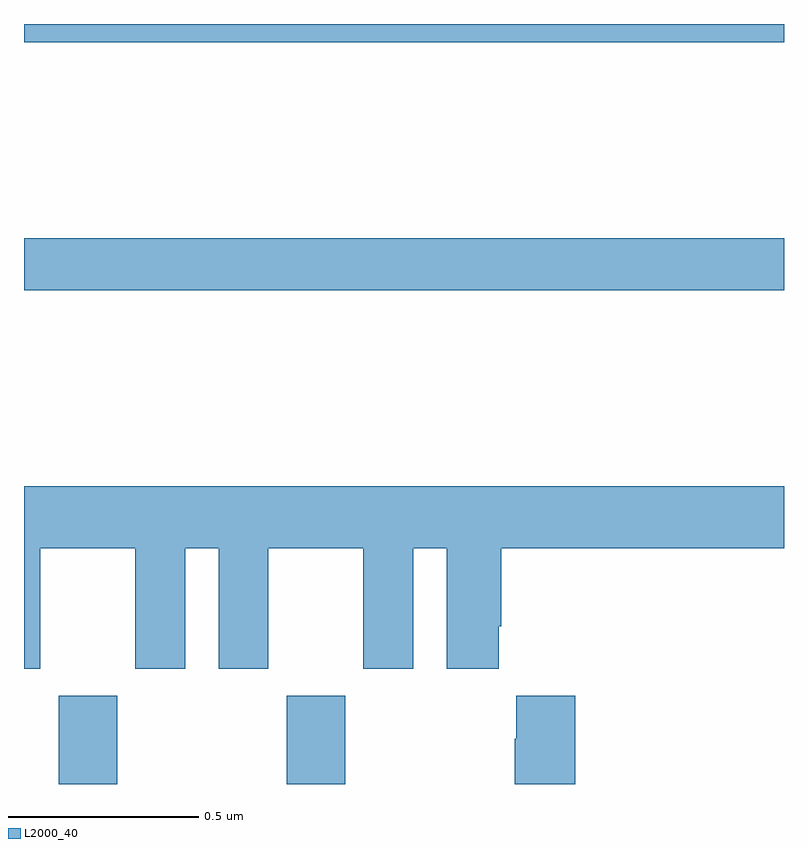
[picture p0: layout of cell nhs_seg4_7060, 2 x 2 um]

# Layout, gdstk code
import gdstk
lib = gdstk.Library(unit=1e-6, precision=1e-09)
def R(c, l, rs):  # rectangles x0, y0, x1, y1
    for r in rs: c.add(gdstk.rectangle(r[:2], r[2:], *l))
def P(c, l, *ps):  # polygons
    for p in ps: c.add(gdstk.Polygon(p, *l))
L2000_40 = (2000, 40)

nhs_seg4_7060 = lib.new_cell('nhs_seg4_7060')
R(nhs_seg4_7060, L2000_40, [(198.091,762.9,198.246,763.132), (198.691,762.9,198.846,763.132), (198,764.2,200,764.336), (198,764.852,200,764.9)])
P(nhs_seg4_7060, L2000_40, [(198.043,763.52),(198.293,763.52),(198.293,763.203),(198.424,763.203),(198.424,763.52),(198.512,763.52),(198.512,763.203),(198.643,763.203),(198.643,763.52),(198.893,763.52),(198.893,763.203),(199.024,763.203),(199.024,763.52),(199.112,763.52),(199.112,763.203),(199.249,763.203),(199.249,763.315),(199.256,763.315),(199.256,763.52),(200,763.52),(200,763.684),(198,763.684),(198,763.203),(198.043,763.203)],
  [(199.451,763.132),(199.295,763.132),(199.295,763.019),(199.291,763.019),(199.291,762.9),(199.451,762.9)])

lib.write_gds('nhs_seg4_7060.gds')
